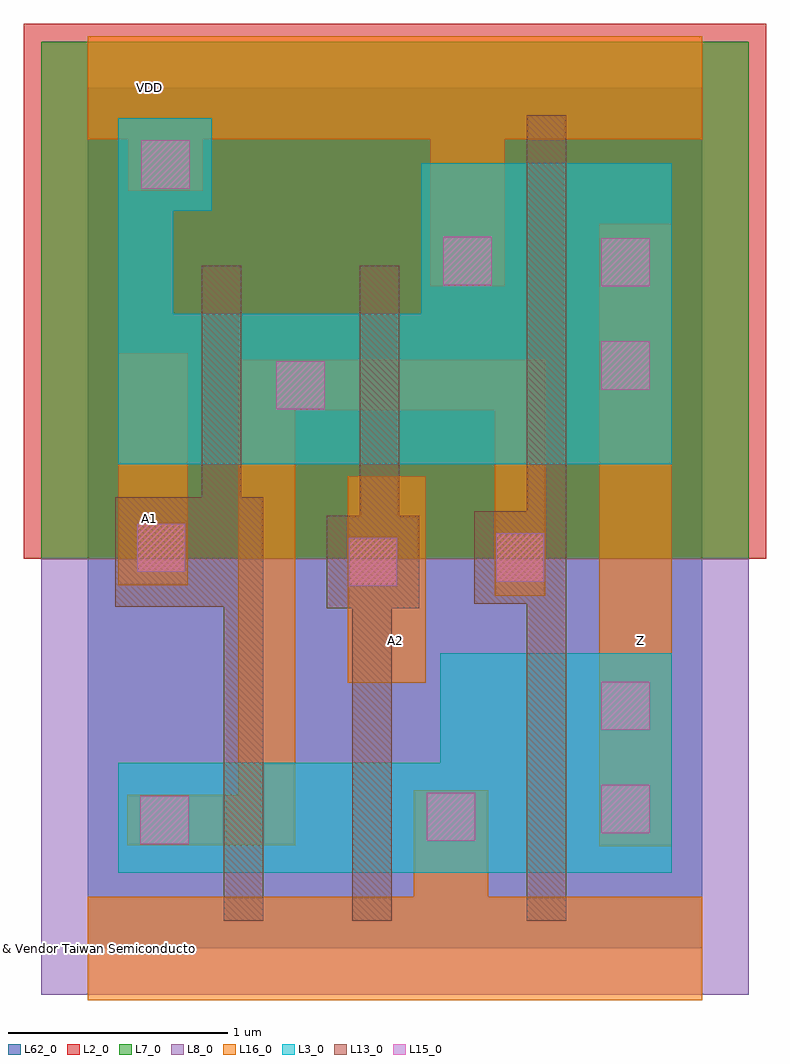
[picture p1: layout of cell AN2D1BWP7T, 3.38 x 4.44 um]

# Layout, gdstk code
import gdstk
lib = gdstk.Library(unit=1e-6, precision=1e-09)
def R(c, l, rs):  # rectangles x0, y0, x1, y1
    for r in rs: c.add(gdstk.rectangle(r[:2], r[2:], *l))
def P(c, l, *ps):  # polygons
    for p in ps: c.add(gdstk.Polygon(p, *l))
L2_0 = (2, 0)
L3_0 = (3, 0)
L7_0 = (7, 0)
L8_0 = (8, 0)
L13_0 = (13, 0)
L15_0 = (15, 0)
L16_0 = (16, 0)
L62_0 = (62, 0)

an2d1bwp7t = lib.new_cell('AN2D1BWP7T')
R(an2d1bwp7t, L2_0, [(-0.29,1.775,3.09,4.21)])
P(an2d1bwp7t, L3_0, [(0.14,0.345),(0.14,0.845),(1.605,0.845),(1.605,1.345),(2.66,1.345),(2.66,0.345)],
  [(0.14,2.205),(0.14,3.78),(0.565,3.78),(0.565,3.36),(0.39,3.36),(0.39,2.89),(1.52,2.89),(1.52,3.575),(2.66,3.575),(2.66,2.205)])
R(an2d1bwp7t, L7_0, [(-0.21,1.775,3.01,4.13)])
R(an2d1bwp7t, L8_0, [(-0.21,-0.21,3.01,1.775)])
P(an2d1bwp7t, L13_0, [(1.205,0.125),(1.205,1.55),(1.09,1.55),(1.09,1.97),(1.24,1.97),(1.24,3.11),(1.42,3.11),(1.42,1.97),(1.51,1.97),(1.51,1.55),(1.385,1.55),(1.385,0.125)],
  [(0.62,0.125),(0.62,1.555),(0.125,1.555),(0.125,2.055),(0.52,2.055),(0.52,3.11),(0.7,3.11),(0.7,2.055),(0.8,2.055),(0.8,0.125)],
  [(2,0.125),(2,1.57),(1.76,1.57),(1.76,1.99),(2,1.99),(2,3.795),(2.18,3.795),(2.18,0.125)])
R(an2d1bwp7t, L15_0, [(0.24,0.475,0.46,0.695), (1.545,0.49,1.765,0.71), (2.34,0.525,2.56,0.745), (2.34,0.995,2.56,1.215), (1.19,1.65,1.41,1.87), (1.86,1.67,2.08,1.89), (0.225,1.715,0.445,1.935), (0.86,2.455,1.08,2.675), (2.34,2.545,2.56,2.765), (2.34,3.015,2.56,3.235), (1.62,3.02,1.84,3.24), (0.245,3.46,0.465,3.68)])
R(an2d1bwp7t, L16_0, [(2.33,0.465,2.66,3.3), (1.185,1.21,1.54,2.15), (0.14,1.655,0.455,2.71)])
P(an2d1bwp7t, L16_0, [(0,-0.235),(0,0.235),(1.485,0.235),(1.485,0.72),(1.825,0.72),(1.825,0.235),(2.8,0.235),(2.8,-0.235)],
  [(1.56,3.015),(1.56,3.685),(0.525,3.685),(0.525,3.45),(0.185,3.45),(0.185,3.685),(0,3.685),(0,4.155),(2.8,4.155),(2.8,3.685),(1.9,3.685),(1.9,3.015)],
  [(0.18,0.47),(0.18,0.7),(0.685,0.7),(0.685,2.68),(2.085,2.68),(2.085,1.605),(1.855,1.605),(1.855,2.45),(0.945,2.45),(0.945,0.47)])
R(an2d1bwp7t, L62_0, [(0,0,2.8,3.92)])
an2d1bwp7t.add(gdstk.Label('& Vendor Taiwan Semiconductor Manufacturing Corp.', (0,0), layer=63, texttype=63))
an2d1bwp7t.add(gdstk.Label('& Product tcb018gbwp7t', (0,0), layer=63, texttype=63))
an2d1bwp7t.add(gdstk.Label('& Version 270a', (0,0), layer=63, texttype=63))
an2d1bwp7t.add(gdstk.Label('& Metric 10.976', (0,0), layer=63, texttype=63))
an2d1bwp7t.add(gdstk.Label('& Distributor TSMC', (0,0), layer=63, texttype=63))
an2d1bwp7t.add(gdstk.Label('& SerialNumber 000000', (0,0), layer=63, texttype=63))
an2d1bwp7t.add(gdstk.Label('& _Instance_tag AN2D1BWP7T', (0,0), layer=63, texttype=63))
an2d1bwp7t.add(gdstk.Label('& Vendor Taiwan Semiconductor Manufacturing Corp.', (0,0), layer=11, texttype=0))
an2d1bwp7t.add(gdstk.Label('& Product tcb018gbwp7t', (0,0), layer=11, texttype=0))
an2d1bwp7t.add(gdstk.Label('& Version 270a', (0,0), layer=11, texttype=0))
an2d1bwp7t.add(gdstk.Label('& Metric 10.976', (0,0), layer=11, texttype=0))
an2d1bwp7t.add(gdstk.Label('& Distributor TSMC', (0,0), layer=11, texttype=0))
an2d1bwp7t.add(gdstk.Label('& SerialNumber 000000', (0,0), layer=11, texttype=0))
an2d1bwp7t.add(gdstk.Label('& _Instance_tag AN2D1BWP7T', (0,0), layer=11, texttype=0))
an2d1bwp7t.add(gdstk.Label('AN2D1BWP7T', (0,0), layer=59, texttype=0))
an2d1bwp7t.add(gdstk.Label('VSS', (0.28,0), layer=40, texttype=0))
an2d1bwp7t.add(gdstk.Label('VDD', (0.28,3.92), layer=40, texttype=0))
an2d1bwp7t.add(gdstk.Label('Z', (2.52,1.4), layer=40, texttype=0))
an2d1bwp7t.add(gdstk.Label('A2', (1.4,1.4), layer=40, texttype=0))
an2d1bwp7t.add(gdstk.Label('A1', (0.28,1.96), layer=40, texttype=0))

lib.write_gds('AN2D1BWP7T.gds')
